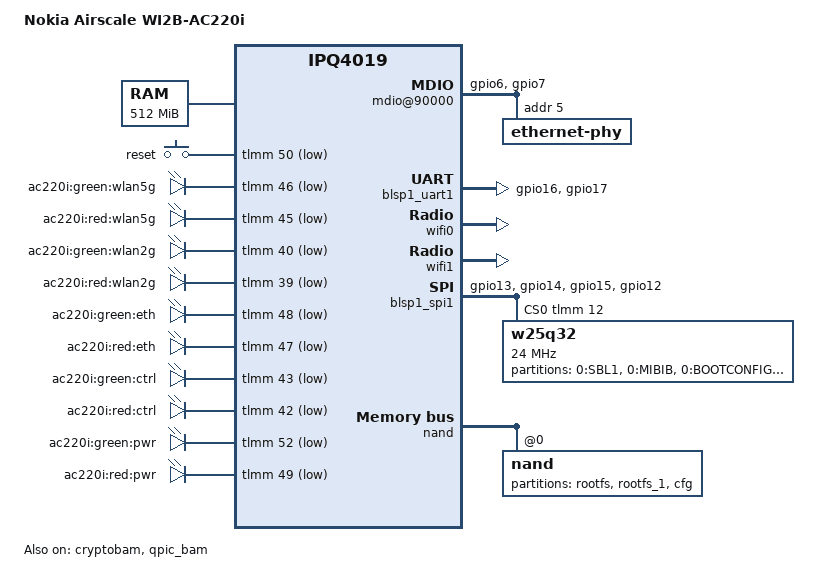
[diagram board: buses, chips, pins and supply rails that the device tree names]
// SPDX-License-Identifier: GPL-2.0-only
/*
 * Device Tree Source for Nokia Airscale WI2B-AC220i
 *
 * Copyright (C) 2020 Nguyen Quang Minh <hello@minhng99.eu>
 *
 * Based on reverse engineered device tree from stock firmware
 *
 * This file is licensed under the terms of the GNU General Public
 * License version 2.  This program is licensed "as is" without
 * any warranty of any kind, whether express or implied.
 */

#include "qcom-ipq4019.dtsi"
#include <dt-bindings/gpio/gpio.h>
#include <dt-bindings/input/input.h>
#include <dt-bindings/soc/qcom,tcsr.h>

/ {
	model = "Nokia Airscale WI2B-AC220i";
	compatible = "nokia,wi2b-ac220i", "qcom,ipq4019";

	aliases {
		led-boot = &pwr_red;
		led-upgrade = &pwr_green;
		led-failsafe = &pwr_red;
		led-running = &pwr_green;
	};

	chosen {
		bootargs-append = " ubi.mtd=rootfs ubi.block=0,1 root=/dev/ubiblock0_1 rootfstype=squashfs ro clk_ignore_unused";

		stdout-path = "serial0:115200n8";
	};

	memory {
		device_type = "memory";
		reg = <0x80000000 0x20000000>; /* 512MB */
	};

	soc {

		mdio@90000 {
			status = "okay";
			pinctrl-0 = <&mdio_pins>;
			pinctrl-names = "default";

			/delete-node/ ethernet-phy@0;
			/delete-node/ ethernet-phy@1;
			/delete-node/ ethernet-phy@2;
			/delete-node/ ethernet-phy@3;
			/delete-node/ ethernet-phy@4;

			ethernet-phy@5 {
				reg = <0x5>;
			};
		};

		rng@22000 {
			status = "okay";
		};

		crypto@8e3a000 {
			status = "okay";
		};

		watchdog@b017000 {
			status = "okay";
		};

		ess-switch@c000000 {
			switch_mac_mode = <0x3>;
			switch_lan_bmp = <0x0>;
			switch_wan_bmp = <0x10>;
		};

		edma@c080000 {
			qcom,single-phy;
			qcom,num_gmac = <1>;
			phy-mode = "rgmii-id";
			status = "okay";
		};
	};

	keys {
		compatible = "gpio-keys";

		reset {
			label = "reset";
			gpios = <&tlmm 50 GPIO_ACTIVE_LOW>;
			linux,code = <KEY_RESTART>;
		};
	};

	leds {
		compatible = "gpio-leds";

		pinctrl-0 = <&led_pins>;
		pinctrl-names = "default";

		wlan5g_green {
			label = "ac220i:green:wlan5g";
			gpios = <&tlmm 46 GPIO_ACTIVE_LOW>;
		};

		wlan5g_red {
			label = "ac220i:red:wlan5g";
			gpios = <&tlmm 45 GPIO_ACTIVE_LOW>;
		};

		wlan2g_green {
			label = "ac220i:green:wlan2g";
			gpios = <&tlmm 40 GPIO_ACTIVE_LOW>;
		};

		wlan2g_red {
			label = "ac220i:red:wlan2g";
			gpios = <&tlmm 39 GPIO_ACTIVE_LOW>;
		};

		eth_green {
			label = "ac220i:green:eth";
			gpios = <&tlmm 48 GPIO_ACTIVE_LOW>;
		};

		eth_red {
			label = "ac220i:red:eth";
			gpios = <&tlmm 47 GPIO_ACTIVE_LOW>;
		};

		ctrl_green {
			label = "ac220i:green:ctrl";
			gpios = <&tlmm 43 GPIO_ACTIVE_LOW>;
		};

		ctrl_red {
			label = "ac220i:red:ctrl";
			gpios = <&tlmm 42 GPIO_ACTIVE_LOW>;
		};

		pwr_green: pwr_green {
			label = "ac220i:green:pwr";
			gpios = <&tlmm 52 GPIO_ACTIVE_LOW>;
		};

		pwr_red: pwr_red {
			label = "ac220i:red:pwr";
			gpios = <&tlmm 49 GPIO_ACTIVE_LOW>;
			panic-indicator;
		};
	};
};

&tlmm {

	mdio_pins: mdio_pinmux {

		mux_1 {
			pins = "gpio6";
			function = "mdio";
			bias-pull-up;
		};

		mux_2 {
			pins = "gpio7";
			function = "mdc";
			bias-pull-up;
		};

	};

	serial_0_pins: serial0-pinmux {
		pins = "gpio16", "gpio17";
		function = "blsp_uart0";
		bias-disable;
	};

	spi_0_pins: spi-0-pinmux {

		pinmux {
			function = "blsp_spi0";
			pins = "gpio13", "gpio14", "gpio15";
			bias-disable;
		};

		pinmux_cs {
			function = "gpio";
			pins = "gpio12";
			bias-disable;
			output-high;
		};

	};

	led_pins: led_pins {

		mux {
			pins = "gpio46", "gpio45", "gpio40", "gpio39", "gpio48",
			       "gpio47", "gpio43", "gpio42", "gpio52", "gpio49";
			function = "gpio";
			drive-strength = <2>;
			bias-pull-down;
		};

	};
};

&blsp1_uart1 {
	pinctrl-0 = <&serial_0_pins>;
	pinctrl-names = "default";
	status = "ok";
};

&blsp_dma {
	status = "okay";
};

&wifi0 {
	status = "okay";
};

&wifi1 {
	status = "okay";
};

&cryptobam {
	status = "okay";
};

&gmac0 {
	qcom,phy_mdio_addr = <5>;
	qcom,poll_required = <1>;
	vlan_tag = <0 0x20>;
};

&blsp1_spi1 {
	pinctrl-0 = <&spi_0_pins>;
	pinctrl-names = "default";
	status = "ok";
	cs-gpios = <&tlmm 12 0>;

	w25q32@0 {
		#address-cells = <1>;
		#size-cells = <1>;
		reg = <0>;
		compatible = "w25q32";
		spi-max-frequency = <24000000>;

		partitions {
			compatible = "fixed-partitions";

			SBL1@0 {
				label = "0:SBL1";
				reg = <0x00000000 0x00040000>;
				read-only;
			};

			MIBIB@40000 {
				label = "0:MIBIB";
				reg = <0x00040000 0x00020000>;
				read-only;
			};

			BOOTCONFIG@60000 {
				label = "0:BOOTCONFIG";
				reg = <0x00060000 0x00020000>;
			};

			QSEE_1@80000 {
				label = "0:QSEE_1";
				reg = <0x00080000 0x00060000>;
				read-only;
			};

			QSEE@e0000 {
				label = "0:QSEE";
				reg = <0x000e0000 0x00060000>;
				read-only;
			};

			CDT_1@140000 {
				label = "0:CDT_1";
				reg = <0x00140000 0x00010000>;
				read-only;
			};

			CDT@150000 {
				label = "0:CDT";
				reg = <0x00150000 0x00010000>;
				read-only;
			};

			BOOTCONFIG1@160000 {
				label = "0:BOOTCONFIG1";
				reg = <0x00160000 0x00020000>;
			};

			DDRPARAMS@180000 {
				label = "0:DDRPARAMS";
				reg = <0x00180000 0x00010000>;
				read-only;
			};

			APPSBLENV@190000 {
				label = "0:APPSBLENV";
				reg = <0x00190000 0x00010000>;
			};

			APPSBL_1@1a0000 {
				label = "0:APPSBL_1";
				reg = <0x001a0000 0x00080000>;
				read-only;
			};

			APPSBL@220000 {
				label = "0:APPSBL";
				reg = <0x00220000 0x00080000>;
				read-only;
			};

			RES1@2a0000 {
				label = "0:RES1";
				reg = <0x002a0000 0x00130000>;
				read-only;
			};

			ART@3d0000 {
				label = "0:ART";
				reg = <0x003d0000 0x00010000>;
				read-only;
			};

			EID-A@3e0000 {
				label = "0:EID-A";
				reg = <0x003e0000 0x00010000>;
				read-only;
			};

			EID-B@3f0000 {
				label = "0:EID-B";
				reg = <0x003f0000 0x00010000>;
				read-only;
			};
		};

	};
};

&qpic_bam {
	status = "okay";
};

&nand {
	status = "okay";

	nand@0 {
		partitions {
			compatible = "fixed-partitions";
			#address-cells = <1>;
			#size-cells = <1>;

			rootfs@0 {
				label = "rootfs";
				reg = <0x00000000 0x03000000>;
			};

			rootfs_1@3000000 {
				label = "rootfs_1";
				reg = <0x03000000 0x03000000>;
			};

			cfg@6000000 {
				label = "cfg";
				reg = <0x06000000 0x02000000>;
			};

		};

	};
};
